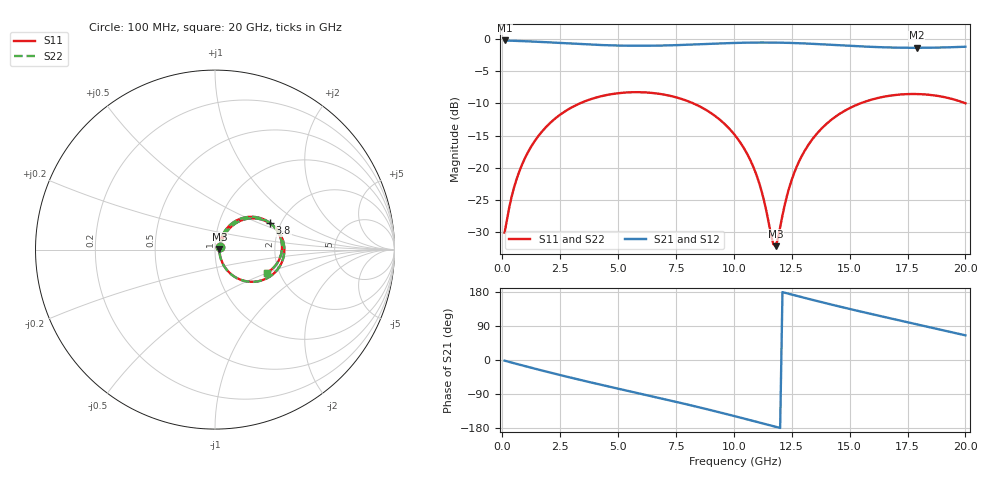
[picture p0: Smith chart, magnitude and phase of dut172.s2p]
! Touchstone file exported from HFSS 2026.1.0
!  File:  C:/ffzhzh/LocalFiles/Ansys_Project_Files/temp_train_TSV_RDL_172_1783055701_45820.aedt
!  Generated:  01:27:30 PM Jul  3, 2026
!  Design:  TSV_RDL
!  Project:  temp_train_TSV_RDL_172_1783055701_45820
! Variables:
!  h_bsmrdl = 5.85um
!  h_ox = 20um
!  h_rdl = 5um
!  h_sub = 98.99um
!  h_tmrdl = 3.2um
!  h_tsv = 98.99um
!  h_via = 3um
!  l_bsmrdl = 144.35um
!  l_sub = 4858.18um
!  l_tmrdl = 984.54um
!  m_sub = 200um
!  pitch = 30.79um
!  r_tsv = 5.93um
!  s_tmrdl = 10um
!  w_bsmrdl = 10.71um
!  w_sub = 500um
!  w_tmrdl = 18.28um
!  x_tsv_center1 = 993.68um
!  x_tsv_center2 = 1148.74um
!  x_tsv_center3 = 2151.56um
!  x_tsv_center4 = 2306.62um
!  x_tsv_center5 = 3309.44um
!  x_tsv_center6 = 3464.5um
# GHz S MA R 50.000000
! Terminal data exported
! Port[1] = TM_RDL1_1_T1
! Port[2] = TM_RDL5_1_T1
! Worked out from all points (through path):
!   200 points, 100 MHz to 20 GHz, reference 50 ohm
!   highest |S21| = -0.25 dB at 100 MHz (marker M1); lowest = -1.4 dB at 17.9 GHz (marker M2)
!   group delay of S21, straight-line fit = 41.1 ps
!   lowest |S11| = -32.1 dB at 11.8 GHz (marker M3), VSWR 1.05, Z = 52.5 + j0.337 ohm
!   |S11| at or under -10 dB: start of sweep to 3.352 GHz; 8.249 GHz to 15.46 GHz (7.215 GHz wide, 60.9 % of centre)
!   |S22| runs from -32.3 to -8.3 dB; largest |S21 - S12| = 2.2e-14
!   S11 on the Smith chart (normalised r, x): 100 MHz: 1.06, +0.03; 3.8 GHz: 1.76, +0.58; 20 GHz: 1.73, -0.49
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0.1  0.03154 23.6  0.9714 -1.7  0.9714 -1.7  0.03154 23.6
! Gamma 0 0 0 0
! Port Impedance 50 0 50 0
0.4  0.05948 50.8  0.9668 -6.8  0.9668 -6.8  0.05948 50.8
0.6  0.08002 55.3  0.9639 -10.0  0.9639 -10.0  0.08002 55.3
1.2  0.1415 55.8  0.9547 -19.6  0.9547 -19.6  0.1415 55.8
2.2  0.2344 45.9  0.9353 -35.2  0.9353 -35.2  0.2345 45.8
3.5  0.3246 29.4  0.9082 -54.5  0.9082 -54.5  0.3246 29.3
3.8  0.3398 25.5  0.9028 -58.8  0.9028 -58.8  0.3398 25.4
5.3  0.3835 6.0  0.8852 -79.8  0.8852 -79.8  0.3835 6.0
6.8  0.3746 -13.3  0.8867 -100.5  0.8867 -100.5  0.3746 -13.4
8.7  0.2882 -38.3  0.9105 -127.8  0.9105 -127.8  0.2883 -38.4
10.1  0.1744 -55.6  0.93 -149.2  0.93 -149.2  0.1744 -55.8
11  0.08587 -60.7  0.9364 -163.4  0.9364 -163.4  0.08579 -61.2
11.3  0.05618 -56.0  0.9368 -168.2  0.9368 -168.2  0.05602 -56.6
11.7  0.02575 -15.4  0.9358 -174.6  0.9358 -174.6  0.02526 -16.0
11.8  0.02478 7.4  0.9353 -176.2  0.9353 -176.2  0.02423 7.4
12.5  0.08098 62.0  0.929 172.7  0.929 172.7  0.08076 62.2
12.9  0.1203 61.8  0.9235 166.4  0.9235 166.4  0.1202 62.0
13.4  0.1676 57.7  0.9149 158.6  0.9149 158.6  0.1675 57.8
14.8  0.2779 41.1  0.8869 137.6  0.8869 137.6  0.2778 41.1
16.7  0.3618 17.1  0.8573 110.8  0.8573 110.8  0.3618 17.0
17.9  0.3736 2.1  0.8518 94.4  0.8518 94.4  0.3736 2.0
20  0.3168 -24.0  0.8684 65.1  0.8684 65.1  0.3167 -24.1
